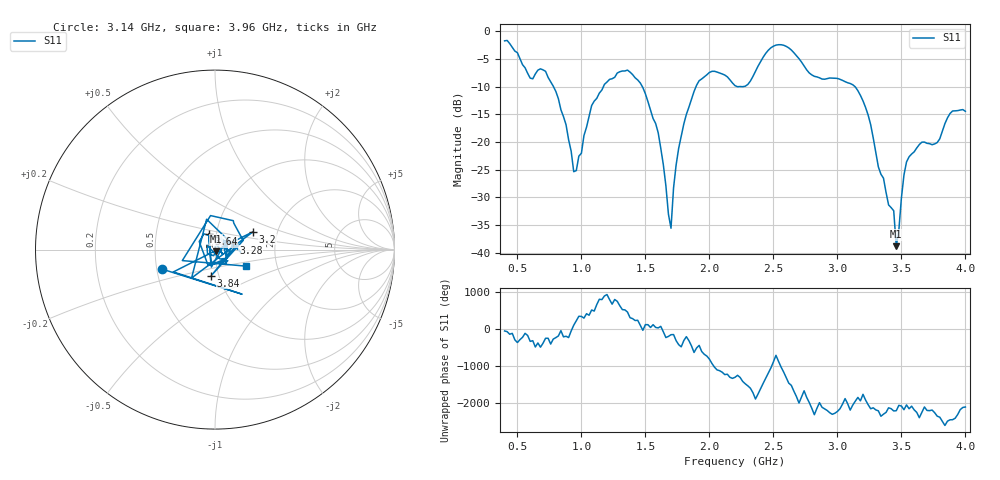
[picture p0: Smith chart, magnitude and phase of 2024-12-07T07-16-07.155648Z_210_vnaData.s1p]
!Created with skrf (http://scikit-rf.org).
# Hz S RI R 50.0
!freq ReS11 ImS11
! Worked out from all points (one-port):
!   181 points, 400 MHz to 4 GHz, reference 50 ohm
!   lowest |S11| = -38.8 dB at 3.46 GHz (marker M1), VSWR 1.02, Z = 50.6 - j0.997 ohm
!   |S11| at or under -10 dB: 781.9 MHz to 1.172 GHz (389.9 MHz wide, 39.9 % of centre); 1.476 GHz to 1.895 GHz (419.1 MHz wide, 24.9 % of centre); 3.138 GHz to end of sweep (the widest 3 of 5)
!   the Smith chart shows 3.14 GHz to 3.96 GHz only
!   S11 on the Smith chart (normalised r, x): 3.14 GHz: 0.53, -0.13; 3.2 GHz: 1.50, +0.32; 3.28 GHz: 1.22, +0.09; 3.64 GHz: 0.92, +0.16; 3.84 GHz: 0.92, -0.27; 3.96 GHz: 1.38, -0.26
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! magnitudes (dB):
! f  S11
! 400 MHz  -1.7
! 600 MHz  -8.5
! 720 MHz  -7.2
! 860 MHz  -15.4
! 960 MHz  -25.2
! 1.08 GHz  -13.4
! 1.3 GHz  -7.3
! 1.46 GHz  -9.3
! 1.58 GHz  -16.7
! 1.7 GHz  -35.6
! 1.72 GHz  -28.3
! 1.76 GHz  -21.1
! 1.92 GHz  -8.9
! 2.2 GHz  -9.8
! 2.5 GHz  -2.7
! 2.66 GHz  -3.9
! 3.1 GHz  -9.4
! 3.14 GHz  -10.0
! 3.2 GHz  -12.6
! 3.28 GHz  -19.3
! 3.44 GHz  -32.4
! 3.46 GHz  -38.8
! 3.52 GHz  -26.0
! 3.56 GHz  -22.7
! 3.64 GHz  -20.5
! 3.84 GHz  -16.7
! 3.96 GHz  -14.2
! 4 GHz  -14.5
